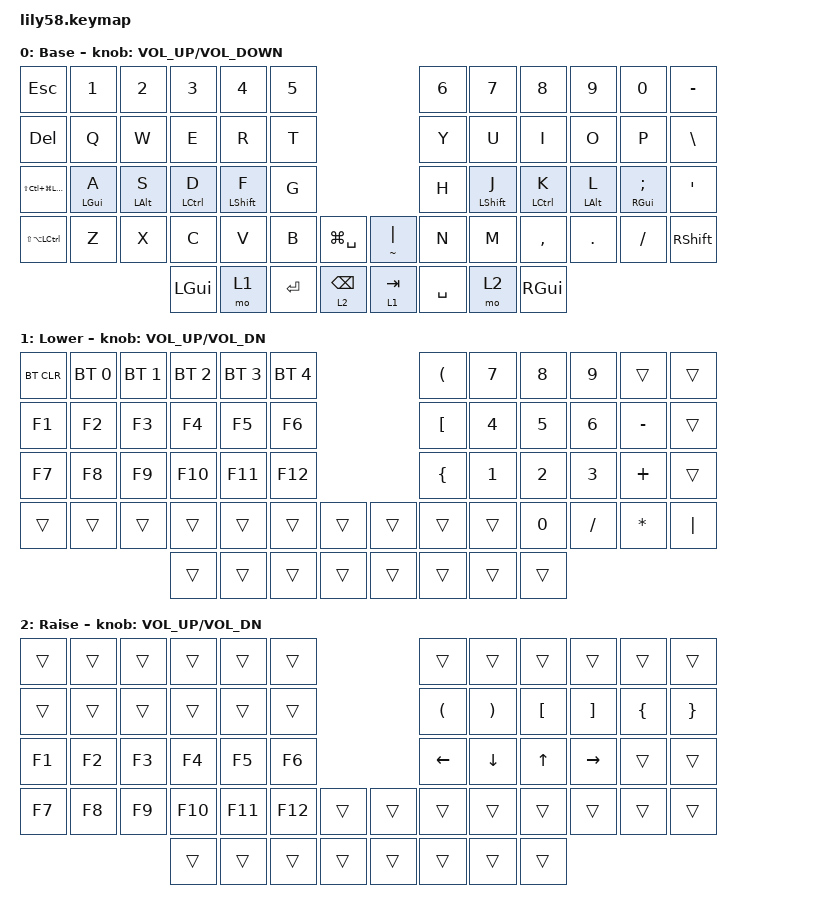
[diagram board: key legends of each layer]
#define BASE  0
#define LOWER 1
#define RAISE 2
#define FUN   3
#define ADJUST 4

#include "includes/mods.dtsi"
#include "includes/macros.dtsi"
#include <behaviors.dtsi>
#include <dt-bindings/zmk/bt.h>
#include <dt-bindings/zmk/keys.h>

#define MEH LC(LS(LALT))
#define HYPR LC(LS(LCTL(LGUI)))
#define CUT LS(DEL)
#define COPY LC(INS)
#define PASTE LS(INS)
#define RAY LGUI(SPACE)

/ {
    behaviors {
        hmr: hmr {
            compatible = "zmk,behavior-hold-tap";
            label = "HMR";
            bindings = <&kp>, <&kp>;

            #binding-cells = <2>;
            tapping-term-ms = <175>;
            flavor = "balanced";
        };

        hml: hml {
            compatible = "zmk,behavior-hold-tap";
            label = "HML";
            bindings = <&kp>, <&kp>;

            #binding-cells = <2>;
            tapping-term-ms = <175>;
            flavor = "balanced";
        };

        lth: lth {
            compatible = "zmk,behavior-hold-tap";
            label = "LTH";
            bindings = <&mo>, <&kp>;

            #binding-cells = <2>;
            tapping-term-ms = <175>;
            flavor = "tap-preferred";
        };

        rth: rth {
            compatible = "zmk,behavior-hold-tap";
            label = "RTH";
            bindings = <&mo>, <&kp>;

            #binding-cells = <2>;
            tapping-term-ms = <175>;
            flavor = "tap-preferred";
        };
    };

    keymap {
        compatible = "zmk,keymap";

        default_layer {
            // ------------------------------------------------------------------------------------------------------------
            // |  ESC  |  1  |  2  |  3   |  4     |  5   |                   |  6    |  7    |  8    |  9   |   0   |   -   |
            // |  DEL  |  Q  |  W  |  E   |  R     |  T   |                   |  Y    |  U    |  I    |  O   |   P   |   \   |
            // | HYPER |  A  |  S  |  D   |  F     |  G   |                   |  H    |  J    |  K    |  L   |   ;   |   '   |
            // |  MEH  |  Z  |  X  |  C   |  V     |  B   |  RAY  |  |  PIPE  |  N    |  M    |  ,    |  .   |   /   | SHIFT |
            //                     | LGUI | LOWER  | RET  |  BKSP |  | TAB    | SPACE | RAISE | GUI   |

            display-name = "Base";
            bindings = <
&kp ESC                   &kp N1           &kp N2           &kp N3        &kp N4        &kp N5                                        &kp N6     &kp N7        &kp N8        &kp N9       &kp N0          &kp MINUS
&kp DEL                   &kp Q            &kp W            &kp E         &kp R         &kp T                                         &kp Y      &kp U         &kp I         &kp O        &kp P           &kp BSLH
&kp LS(LC(LG(LEFT_ALT)))  &hmr LEFT_GUI A  &hmr LEFT_ALT S  &hml LCTRL D  &hml LSHFT F  &kp G                                         &kp H      &hmr LSHFT J  &hmr LCTRL K  &hmr LALT L  &hmr RGUI SEMI  &kp SQT
&kp LS(LA(LCTRL))         &kp Z            &kp X            &kp C         &kp V         &kp B    &kp LG(SPACE)       &hmr TILDE PIPE  &kp N      &kp M         &kp COMMA     &kp DOT      &kp FSLH        &kp RSHFT
                                                            &kp LGUI      &mo 1         &kp RET  &lth 2 BACKSPACE    &rth 1 TAB       &kp SPACE  &mo 2         &kp RGUI
            >;

            sensor-bindings = <&inc_dec_kp C_VOLUME_UP K_VOLUME_DOWN>;
        };

        lower_layer {
            // ------------------------------------------------------------------------------------------------------------
            // | BTCLR | BT1 | BT2 |  BT3 |  BT4 |  BT5 |                   |      |   7   |  8    |   9  |   -   |       |
            // |  F1   |  F2 |  F3 |  F4  |  F5  |  F6  |                   |  F7  |   4   |  5    |   6  |   *   |       |
            // |   `   |  !  |  @  |  #   |  $   |  %   |                   |  ^   |   1   |  2    |   3  |   +   |       |
            // |       |     |     |      |      |      |        |  |       |      |       |  0    |   =  |   /   |       |
            //                     |      |      |      |        |  |       |      |       |       |

            display-name = "Lower";
            bindings = <
&bt BT_CLR  &bt BT_SEL 0  &bt BT_SEL 1  &bt BT_SEL 2  &bt BT_SEL 3  &bt BT_SEL 4                    &kp LEFT_PARENTHESIS  &kp N7        &kp N8        &kp N9        &trans        &trans
&kp F1      &kp F2        &kp F3        &kp F4        &kp F5        &kp F6                          &kp LEFT_BRACKET      &kp NUMBER_4  &kp N5        &kp NUMBER_6  &kp MINUS     &trans
&kp F7      &kp F8        &kp F9        &kp F10       &kp F11       &kp F12                         &kp LEFT_BRACE        &kp NUMBER_1  &kp NUMBER_2  &kp NUMBER_3  &kp PLUS      &trans
&trans      &trans        &trans        &trans        &trans        &trans        &trans    &trans  &trans                &trans        &kp N0        &kp SLASH     &kp ASTERISK  &kp PIPE
                                        &trans        &trans        &trans        &trans    &trans  &trans                &trans        &trans
            >;

            sensor-bindings = <&inc_dec_kp C_VOL_UP C_VOL_DN>;
        };

        raise_layer {
            // ------------------------------------------------------------------------------------------------------------
            // |       |     |     |      |      |      |                   |      |       |       |      |       |       |
            // |   `   |  1  |  2  |  3   |  4   |  5   |                   |  6   |   7   |   8   |  9   |   0   |       |
            // |   F1  |  F2 |  F3 |  F4  |  F5  |  F6  |                   |  <-  |   v   |   ^   |  ->  |       |       |
            // |   F7  |  F8 |  F9 |  F10 |  F11 |  F12 |        |  |       |  +   |   -   |   =   |  [   |   ]   |   \   |
            //                     |      |      |      |        |  |       |      |       |       |

            display-name = "Raise";
            bindings = <
&trans  &trans  &trans  &trans   &trans   &trans                     &trans                &trans                 &trans            &trans             &trans          &trans
&trans  &trans  &trans  &trans   &trans   &trans                     &kp LEFT_PARENTHESIS  &kp RIGHT_PARENTHESIS  &kp LEFT_BRACKET  &kp RIGHT_BRACKET  &kp LEFT_BRACE  &kp RIGHT_BRACE
&kp F1  &kp F2  &kp F3  &kp F4   &kp F5   &kp F6                     &kp LEFT              &kp DOWN               &kp UP            &kp RIGHT          &trans          &trans
&kp F7  &kp F8  &kp F9  &kp F10  &kp F11  &kp F12  &trans    &trans  &trans                &trans                 &trans            &trans             &trans          &trans
                        &trans   &trans   &trans   &trans    &trans  &trans                &trans                 &trans
            >;

            sensor-bindings = <&inc_dec_kp C_VOL_UP C_VOL_DN>;
        };

        extra_1 { status = "reserved"; };

        extra_2 { status = "reserved"; };

        5

        extra_3 { status = "reserved"; };
    };
};
